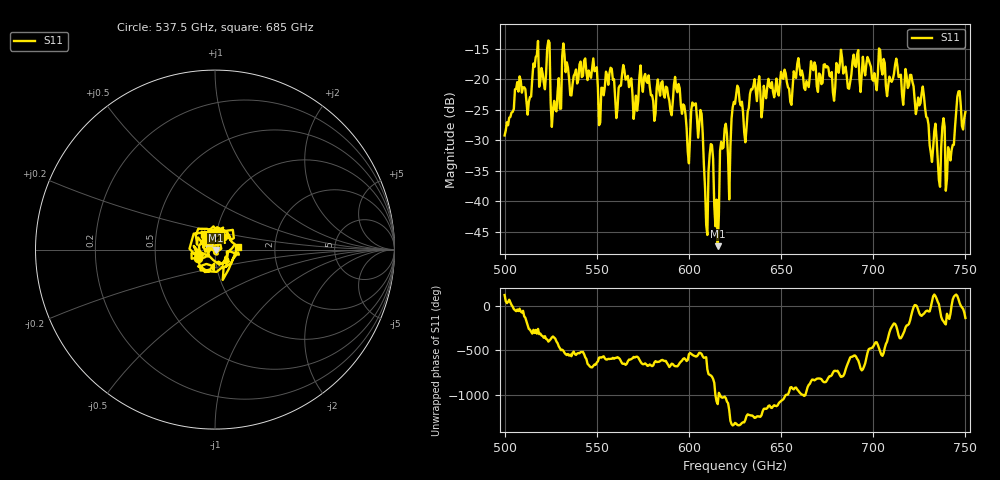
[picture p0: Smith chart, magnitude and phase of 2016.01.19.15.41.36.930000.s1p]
!Created with skrf (http://scikit-rf.org).
# GHz S RI R 50.0
!freq ReS11 ImS11
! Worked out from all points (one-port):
!   401 points, 500 GHz to 750 GHz, reference 50 ohm
!   lowest |S11| = -47.4 dB at 615.6 GHz (marker M1), VSWR 1.01, Z = 50.4 - j0.151 ohm
!   |S11| at or under -10 dB: start of sweep to end of sweep
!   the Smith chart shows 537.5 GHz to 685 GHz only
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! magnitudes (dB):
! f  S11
! 500 GHz  -29.2
! 507.5 GHz  -22.0
! 513.1 GHz  -23.7
! 516.9 GHz  -16.4
! 523.8 GHz  -13.6
! 526.9 GHz  -23.6
! 531.2 GHz  -16.2
! 562.5 GHz  -21.0
! 593.8 GHz  -22.1
! 599.4 GHz  -31.9
! 602.5 GHz  -24.3
! 606.2 GHz  -25.0
! 609.4 GHz  -43.9
! 611.9 GHz  -30.6
! 615.6 GHz  -47.4
! 618.1 GHz  -31.4
! 621.9 GHz  -39.7
! 625 GHz  -24.0
! 630.6 GHz  -30.3
! 634.4 GHz  -21.7
! 656.2 GHz  -21.6
! 687.5 GHz  -20.4
! 718.8 GHz  -21.4
! 735.6 GHz  -36.5
! 737.5 GHz  -27.9
! 740.6 GHz  -31.2
! 746.2 GHz  -22.0
! 750 GHz  -25.4
